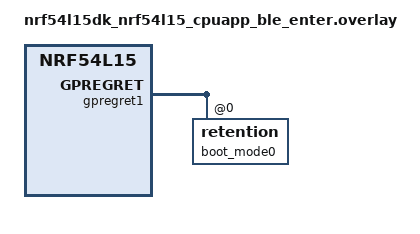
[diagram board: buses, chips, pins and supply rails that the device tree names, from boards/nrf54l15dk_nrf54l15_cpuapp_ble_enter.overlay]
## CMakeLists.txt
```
#
# Copyright (c) 2025 Nordic Semiconductor ASA
#
# SPDX-License-Identifier: LicenseRef-Nordic-5-Clause
#

cmake_minimum_required(VERSION 3.20.0)

find_package(Zephyr REQUIRED HINTS $ENV{ZEPHYR_BASE})
project(single_slot)

target_sources(app PRIVATE src/main.c)
target_sources_ifdef(CONFIG_MCUMGR_TRANSPORT_BT app PRIVATE src/ble_smp.c)
```

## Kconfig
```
#
# Copyright (c) 2026 Nordic Semiconductor ASA
#
# SPDX-License-Identifier: LicenseRef-Nordic-5-Clause
#

source "Kconfig.zephyr"

if SETTINGS

config ZMS
	default y if (SOC_FLASH_NRF_RRAM || SOC_FLASH_NRF_MRAM)

config NVS
	default y if !(SOC_FLASH_NRF_RRAM || SOC_FLASH_NRF_MRAM)

endif # SETTINGS
```

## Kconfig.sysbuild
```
#
# Copyright (c) 2025 Nordic Semiconductor ASA
#
# SPDX-License-Identifier: LicenseRef-Nordic-5-Clause
#

config MCUBOOT_SIGNATURE_USING_KMU
	default y if SOC_SERIES_NRF54L && !(SOC_NRF54LS05A || SOC_NRF54LS05B)

config MCUBOOT_GENERATE_DEFAULT_KEY_FILE
	default y if SOC_SERIES_NRF54L && !(SOC_NRF54LS05A || SOC_NRF54LS05B)

config MCUBOOT_IMAGES_ROM_END_OFFSET_AUTO
	default "single_slot;fw_loader_ipc_radio" if MCUBOOT_SIGN_MERGED_BINARY && SUPPORT_NETCORE

# The pure variant requires ED25519 and both slots in internal storage, so targets outside these
# SoC series keep the MCUboot default signature type.
config BOOT_SIGNATURE_TYPE_PURE
	default y if (SOC_SERIES_NRF54L || SOC_SERIES_NRF54H || SOC_SERIES_NRF71) && \
		BOOT_SIGNATURE_TYPE_ED25519

choice BOOT_SIGNATURE_TYPE
	default BOOT_SIGNATURE_TYPE_ECDSA_P256 if SOC_NRF54LS05A || SOC_NRF54LS05B
	default BOOT_SIGNATURE_TYPE_ED25519 if SOC_SERIES_NRF54L || SOC_SERIES_NRF54H || \
		SOC_SERIES_NRF71
endchoice

source "share/sysbuild/Kconfig"
```

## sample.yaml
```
##
# Copyright (c) 2025 Nordic Semiconductor ASA
#
# SPDX-License-Identifier: LicenseRef-Nordic-5-Clause
#

sample:
  name: Single-slot DFU with MCUboot sample
common:
  sysbuild: true
  harness: console
  harness_config:
    type: one_line
    regex:
      - "Starting single_slot sample"
tests:
  sample.dfu.single_slot:
    tags:
      - dfu_single_slot
      - ci_samples_dfu
    platform_allow:
      - nrf54l15dk/nrf54l15/cpuapp
      - nrf54h20dk/nrf54h20/cpuapp
      - nrf54lm20dk/nrf54lm20a/cpuapp
      - nrf54lv10dk/nrf54lv10a/cpuapp
      - nrf54ls05dk/nrf54ls05b/cpuapp
      - nrf54ls05dk/nrf54ls05a/cpuapp
      - nrf54lm20dk/nrf54lm20b/cpuapp
      - nrf7120dk/nrf7120/cpuapp
    integration_platforms:
      - nrf54l15dk/nrf54l15/cpuapp
      - nrf54h20dk/nrf54h20/cpuapp
      - nrf54lm20dk/nrf54lm20a/cpuapp
      - nrf54lv10dk/nrf54lv10a/cpuapp
      - nrf54ls05dk/nrf54ls05b/cpuapp
      - nrf54ls05dk/nrf54ls05a/cpuapp
      - nrf54lm20dk/nrf54lm20b/cpuapp
      - nrf7120dk/nrf7120/cpuapp
  sample.dfu.single_slot.ble_enter:
    tags:
      - dfu_single_slot
      - ci_samples_dfu
      - bluetooth
    platform_allow:
      - nrf54l15dk/nrf54l15/cpuapp
    integration_platforms:
      - nrf54l15dk/nrf54l15/cpuapp
    extra_args:
      - FILE_SUFFIX=ble_enter
    harness_config:
      type: multi_line
      regex:
        - "Bluetooth initialized"
        - "Advertising successfully started"
  sample.dfu.single_slot.usb:
    tags:
      - dfu_single_slot
      - ci_samples_dfu
    platform_allow:
      - nrf54lm20dk/nrf54lm20a/cpuapp
      - nrf54lm20dk/nrf54lm20b/cpuapp
    integration_platforms:
      - nrf54lm20dk/nrf54lm20a/cpuapp
      - nrf54lm20dk/nrf54lm20b/cpuapp
    extra_args:
      - FILE_SUFFIX=usb
  sample.dfu.single_slot.usb_enter:
    tags:
      - dfu_single_slot
      - ci_samples_dfu
    platform_allow:
      - nrf54lm20dk/nrf54lm20a/cpuapp
      - nrf54lm20dk/nrf54lm20b/cpuapp
    integration_platforms:
      - nrf54lm20dk/nrf54lm20a/cpuapp
      - nrf54lm20dk/nrf54lm20b/cpuapp
    extra_args:
      - FILE_SUFFIX=usb_enter
    harness_config:
      fixture: usb_connected
      type: one_line
      regex:
        - "Starting single_slot sample"
  sample.dfu.single_slot.usb_enter_dongle:
    tags:
      - dfu_single_slot
      - ci_samples_dfu
    platform_allow:
      - nrf54lm20dongle/nrf54lm20b/cpuapp
    integration_platforms:
      - nrf54lm20dongle/nrf54lm20b/cpuapp
    extra_args:
      - FILE_SUFFIX=usb_enter_dongle
  sample.dfu.single_slot.fw_loader_update.nrf54l15:
    extra_args:
      - SB_CONFIG_FIRMWARE_LOADER_UPDATE=y
      - installer_CONFIG_REBOOT=y
    tags:
      - dfu_single_slot
      - ci_samples_dfu
    platform_allow:
      - nrf54l15dk/nrf54l15/cpuapp
    integration_platforms:
      - nrf54l15dk/nrf54l15/cpuapp
  sample.dfu.single_slot.fw_loader_update.nrf54lv10:
    extra_args:
      - SB_CONFIG_FIRMWARE_LOADER_UPDATE=y
      - installer_CONFIG_REBOOT=y
    tags:
      - dfu_single_slot
      - ci_samples_dfu
    platform_allow:
      - nrf54lv10dk/nrf54lv10a/cpuapp
    integration_platforms:
      - nrf54lv10dk/nrf54lv10a/cpuapp
  sample.dfu.single_slot.fw_loader_update.nrf54h20:
    extra_args:
      - SB_CONFIG_FIRMWARE_LOADER_UPDATE=y
      - installer_CONFIG_REBOOT=y
    tags:
      - dfu_single_slot
      - ci_samples_dfu
    platform_allow:
      - nrf54h20dk/nrf54h20/cpuapp
    integration_platforms:
      - nrf54h20dk/nrf54h20/cpuapp
  sample.dfu.single_slot.fw_loader_update.fw_loader_entrance_pin_reset:
    build_only: true
    extra_args:
      - SB_CONFIG_FIRMWARE_LOADER_UPDATE=y
      - installer_CONFIG_REBOOT=y
      - mcuboot_CONFIG_BOOT_FIRMWARE_LOADER_PIN_RESET=y
    tags:
      - dfu_single_slot
      - ci_samples_dfu
    platform_allow:
      - nrf54l15dk/nrf54l15/cpuapp
      - nrf54h20dk/nrf54h20/cpuapp
      - nrf54lm20dk/nrf54lm20a/cpuapp
      - nrf54lm20dk/nrf54lm20b/cpuapp
      - nrf54ls05dk/nrf54ls05b/cpuapp
    integration_platforms:
      - nrf54l15dk/nrf54l15/cpuapp
      - nrf54h20dk/nrf54h20/cpuapp
      - nrf54lm20dk/nrf54lm20b/cpuapp
      - nrf54ls05dk/nrf54ls05b/cpuapp
  sample.dfu.single_slot.fw_loader_update.fw_loader_entrance_boot_mode.nrf54l15:
    extra_args:
      - SB_CONFIG_FIRMWARE_LOADER_UPDATE=y
      - installer_CONFIG_INSTALLER_FW_LOADER_ENTRANCE_BOOT_MODE=y
      - installer_CONFIG_RETAINED_MEM=y
      - installer_CONFIG_RETENTION=y
      - installer_CONFIG_RETENTION_BOOT_MODE=y
      - installer_CONFIG_REBOOT=y
      - mcuboot_CONFIG_RETAINED_MEM=y
      - mcuboot_CONFIG_RETENTION=y
      - mcuboot_CONFIG_RETENTION_BOOT_MODE=y
      - mcuboot_CONFIG_BOOT_FIRMWARE_LOADER_BOOT_MODE=y
    tags:
      - dfu_single_slot
      - ci_samples_dfu
    platform_allow:
      - nrf54l15dk/nrf54l15/cpuapp
    integration_platforms:
      - nrf54l15dk/nrf54l15/cpuapp
  sample.dfu.single_slot.fw_loader_update.fw_loader_entrance_boot_req.nrf54l15:
    extra_args:
      - SB_CONFIG_FIRMWARE_LOADER_UPDATE=y
      - FILE_SUFFIX=boot_req
      - installer_CONFIG_INSTALLER_FW_LOADER_ENTRANCE_BOOT_REQ=y
      - installer_CONFIG_RETAINED_MEM=y
      - installer_CONFIG_RETENTION=y
      - installer_CONFIG_NRF_MCUBOOT_BOOT_REQUEST=y
      - installer_CONFIG_IMG_MANAGER=y
      - installer_CONFIG_REBOOT=y
    tags:
      - dfu_single_slot
      - ci_samples_dfu

    platform_allow:
      - nrf54l15dk/nrf54l15/cpuapp
    integration_platforms:
      - nrf54l15dk/nrf54l15/cpuapp
  sample.dfu.single_slot.fw_loader_update.fw_loader_entrance_boot_req.nrf54h20:
    extra_args:
      - SB_CONFIG_FIRMWARE_LOADER_UPDATE=y
      - FILE_SUFFIX=boot_req
      - installer_CONFIG_INSTALLER_FW_LOADER_ENTRANCE_BOOT_REQ=y
      - installer_CONFIG_NRF_MCUBOOT_BOOT_REQUEST=y
      - installer_CONFIG_IMG_MANAGER=y
      - installer_CONFIG_REBOOT=y
    tags:
      - dfu_single_slot
      - ci_samples_dfu
    platform_allow:
      - nrf54h20dk/nrf54h20/cpuapp
    integration_platforms:
      - nrf54h20dk/nrf54h20/cpuapp
```

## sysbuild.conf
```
#
# Copyright (c) 2025 Nordic Semiconductor ASA
#
# SPDX-License-Identifier: LicenseRef-Nordic-5-Clause
#

SB_CONFIG_BOOTLOADER_MCUBOOT=y
SB_CONFIG_MCUBOOT_MODE_FIRMWARE_UPDATER=y
SB_CONFIG_FIRMWARE_LOADER_IMAGE_BLE_MCUMGR=y
```

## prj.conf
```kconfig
# Enable logging
CONFIG_LOG=y
```

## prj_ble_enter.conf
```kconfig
# Enable MCUmgr and dependencies.
CONFIG_NET_BUF=y
CONFIG_ZCBOR=y
CONFIG_MCUMGR=y
CONFIG_BT=y
CONFIG_BT_PERIPHERAL=y
CONFIG_BT_DEVICE_NAME="single_slot"

# Allow for large Bluetooth data packets.
CONFIG_BT_L2CAP_TX_MTU=247
CONFIG_BT_BUF_ACL_RX_SIZE=251
CONFIG_BT_BUF_ACL_TX_SIZE=251
CONFIG_BT_CTLR_DATA_LENGTH_MAX=251

# Enable the Bluetooth mcumgr transport (unauthenticated).
CONFIG_MCUMGR_TRANSPORT_BT=y
CONFIG_MCUMGR_TRANSPORT_BT_CONN_PARAM_CONTROL=y

# Enable the mcumgr Packet Reassembly feature over Bluetooth and its configuration dependencies.
# MCUmgr buffer size is optimized to fit one SMP packet divided into five Bluetooth Write Commands,
# transmitted with the maximum possible MTU value: 247 bytes.
CONFIG_MCUMGR_TRANSPORT_BT_REASSEMBLY=y
CONFIG_MCUMGR_TRANSPORT_NETBUF_SIZE=1220
CONFIG_MCUMGR_GRP_OS_MCUMGR_PARAMS=y
CONFIG_MCUMGR_TRANSPORT_WORKQUEUE_STACK_SIZE=4608

# Enable OS management with bootloader information and boot mode support. The reset command with
# the boot mode parameter is what requests entrance into the firmware loader.
CONFIG_MCUMGR_GRP_OS=y
CONFIG_MCUMGR_GRP_OS_RESET_BOOT_MODE=y
CONFIG_MCUMGR_GRP_OS_BOOTLOADER_INFO=y

# Enable the Settings management group so the SMP client can change the FW Loader
# advertising name (requires CONFIG_FW_LOADER_SETTINGS_ADV_NAME=y). The OS Reset and
# SMP Command Status hooks let the application prepare a graceful shutdown before
# resetting into the FW Loader.
CONFIG_MCUMGR_MGMT_NOTIFICATION_HOOKS=y
CONFIG_MCUMGR_GRP_OS_RESET_HOOK=y
CONFIG_MCUMGR_SMP_COMMAND_STATUS_HOOKS=y
CONFIG_MCUMGR_GRP_SETTINGS=y

CONFIG_FW_LOADER_SETTINGS_ADV_NAME=y
CONFIG_SETTINGS=y
CONFIG_SETTINGS_RUNTIME=y
CONFIG_FLASH=y
CONFIG_FLASH_MAP=y

# Enable logging
CONFIG_LOG=y
```

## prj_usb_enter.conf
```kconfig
# Enable MCUmgr and dependencies.
CONFIG_NET_BUF=y
CONFIG_ZCBOR=y
CONFIG_CRC=y
CONFIG_MCUMGR=y
CONFIG_STREAM_FLASH=y
CONFIG_FLASH_MAP=y

# Some command handlers require a large stack.
CONFIG_SYSTEM_WORKQUEUE_STACK_SIZE=2304
CONFIG_MAIN_STACK_SIZE=2176

# Ensure an MCUboot-compatible binary is generated.
CONFIG_BOOTLOADER_MCUBOOT=y

# Enable flash operations.
CONFIG_FLASH=y

# Enable most core commands.
CONFIG_MCUMGR_GRP_OS=y
CONFIG_MCUMGR_GRP_OS_BOOTLOADER_INFO=y
CONFIG_MCUMGR_GRP_OS_ECHO=y
CONFIG_MCUMGR_GRP_OS_INFO=n
CONFIG_MCUMGR_GRP_OS_RESET_BOOT_MODE=y

# Enable the Shell mcumgr transport.
CONFIG_BASE64=y
CONFIG_CRC=y

CONFIG_MCUMGR_TRANSPORT_NETBUF_SIZE=1220
CONFIG_MCUMGR_GRP_OS_MCUMGR_PARAMS=y
CONFIG_MCUMGR_TRANSPORT_WORKQUEUE_STACK_SIZE=4608

# Enable the storage erase command.
CONFIG_MCUMGR_GRP_ZBASIC=y
CONFIG_MCUMGR_GRP_ZBASIC_STORAGE_ERASE=y

# Disable shell commands that are not needed
CONFIG_CLOCK_CONTROL_NRF_SHELL=n
CONFIG_DEVICE_SHELL=n
CONFIG_DEVMEM_SHELL=n
CONFIG_FLASH_SHELL=n

# Disable unneeded drivers, peripherals and features to optimize for size
CONFIG_SIZE_OPTIMIZATIONS=y

# Enable LTO
CONFIG_LTO=y
CONFIG_ISR_TABLES_LOCAL_DECLARATION=y

CONFIG_I2C=n
CONFIG_WATCHDOG=n
CONFIG_SPI_NOR=n
CONFIG_GPIO=n

CONFIG_FPU=n

CONFIG_BOOT_BANNER=n
CONFIG_NCS_BOOT_BANNER=n
CONFIG_BOOT_DELAY=0

CONFIG_ARM_MPU=n

CONFIG_TIMESLICING=n
CONFIG_COMMON_LIBC_MALLOC=y
CONFIG_LOG=n

CONFIG_ASSERT=n

# Enable USB subsystem
CONFIG_SERIAL=y
CONFIG_UART_LINE_CTRL=y
CONFIG_CONSOLE=y
CONFIG_USB_DEVICE_STACK_NEXT=y
CONFIG_CDC_ACM_SERIAL_INITIALIZE_AT_BOOT=y
CONFIG_CDC_ACM_SERIAL_MULTIPLE_INSTANCES=y

# USB backend is serial device
CONFIG_UART_MCUMGR=y
CONFIG_MCUMGR_TRANSPORT_UART=y


CONFIG_PSA_USE_CRACEN_CIPHER_DRIVER=n
CONFIG_PSA_USE_CRACEN_AEAD_DRIVER=n
CONFIG_PSA_USE_CRACEN_MAC_DRIVER=n
CONFIG_PSA_USE_CRACEN_KEY_AGREEMENT_DRIVER=n
CONFIG_PSA_USE_CRACEN_ASYMMETRIC_ENCRYPTION_DRIVER=n
CONFIG_PSA_USE_CRACEN_KEY_MANAGEMENT_DRIVER=n
CONFIG_PSA_USE_CRACEN_KEY_DERIVATION_DRIVER=n
CONFIG_PSA_USE_CRACEN_PAKE_DRIVER=n
CONFIG_PSA_USE_CRACEN_ASYMMETRIC_SIGNATURE_DRIVER=n
CONFIG_PSA_USE_CRACEN_HASH_DRIVER=n

CONFIG_GPIO=y
```

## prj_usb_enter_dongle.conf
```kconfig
# Enable MCUmgr and dependencies.
CONFIG_NET_BUF=y
CONFIG_ZCBOR=y
CONFIG_CRC=y
CONFIG_MCUMGR=y
CONFIG_STREAM_FLASH=y
CONFIG_FLASH_MAP=y

# Some command handlers require a large stack.
CONFIG_SYSTEM_WORKQUEUE_STACK_SIZE=2304
CONFIG_MAIN_STACK_SIZE=2176

# Ensure an MCUboot-compatible binary is generated.
CONFIG_BOOTLOADER_MCUBOOT=y

# Enable flash operations.
CONFIG_FLASH=y

# Enable most core commands.
CONFIG_MCUMGR_GRP_OS=y
CONFIG_MCUMGR_GRP_OS_BOOTLOADER_INFO=y
CONFIG_MCUMGR_GRP_OS_ECHO=y
CONFIG_MCUMGR_GRP_OS_INFO=n
CONFIG_MCUMGR_GRP_OS_RESET_BOOT_MODE=y

# Enable the Shell mcumgr transport.
CONFIG_BASE64=y
CONFIG_CRC=y

CONFIG_UART_MCUMGR=y
CONFIG_MCUMGR_TRANSPORT_NETBUF_SIZE=1220
CONFIG_MCUMGR_GRP_OS_MCUMGR_PARAMS=y
CONFIG_MCUMGR_TRANSPORT_WORKQUEUE_STACK_SIZE=4608

# Enable the storage erase command.
CONFIG_MCUMGR_GRP_ZBASIC=y
CONFIG_MCUMGR_GRP_ZBASIC_STORAGE_ERASE=y

# Disable shell commands that are not needed
CONFIG_CLOCK_CONTROL_NRF_SHELL=n
CONFIG_DEVICE_SHELL=n
CONFIG_DEVMEM_SHELL=n
CONFIG_FLASH_SHELL=n

# Disable unneeded drivers, peripherals and features to optimize for size
CONFIG_SIZE_OPTIMIZATIONS=y

# Enable LTO
CONFIG_LTO=y
CONFIG_ISR_TABLES_LOCAL_DECLARATION=y

CONFIG_I2C=n
CONFIG_WATCHDOG=n
CONFIG_SPI_NOR=n
CONFIG_GPIO=n

CONFIG_FPU=n

CONFIG_BOOT_BANNER=n
CONFIG_NCS_BOOT_BANNER=n
CONFIG_BOOT_DELAY=0
CONFIG_PRINTK=n

CONFIG_ARM_MPU=n

CONFIG_TIMESLICING=n
CONFIG_COMMON_LIBC_MALLOC=y
CONFIG_LOG=n

CONFIG_UART_CONSOLE=n
CONFIG_ASSERT=n

# Enable USB subsystem
CONFIG_SERIAL=y
CONFIG_UART_LINE_CTRL=y
CONFIG_CONSOLE=y
CONFIG_USB_DEVICE_STACK_NEXT=y
CONFIG_CDC_ACM_SERIAL_INITIALIZE_AT_BOOT=y
# Two CDC ACM interfaces: board default (cdc_acm_serial.dtsi) + MCUmgr (overlay).
CONFIG_CDC_ACM_SERIAL_MULTIPLE_INSTANCES=y
# USB backend is serial device
CONFIG_MCUMGR_TRANSPORT_UART=y


CONFIG_PSA_USE_CRACEN_CIPHER_DRIVER=n
CONFIG_PSA_USE_CRACEN_AEAD_DRIVER=n
CONFIG_PSA_USE_CRACEN_MAC_DRIVER=n
CONFIG_PSA_USE_CRACEN_KEY_AGREEMENT_DRIVER=n
CONFIG_PSA_USE_CRACEN_ASYMMETRIC_ENCRYPTION_DRIVER=n
CONFIG_PSA_USE_CRACEN_KEY_MANAGEMENT_DRIVER=n
CONFIG_PSA_USE_CRACEN_KEY_DERIVATION_DRIVER=n
CONFIG_PSA_USE_CRACEN_PAKE_DRIVER=n
CONFIG_PSA_USE_CRACEN_ASYMMETRIC_SIGNATURE_DRIVER=n
CONFIG_PSA_USE_CRACEN_HASH_DRIVER=n

CONFIG_GPIO=y

CONFIG_CDC_ACM_SERIAL_VID=0x1915
CONFIG_CDC_ACM_SERIAL_PID=0x541B
```

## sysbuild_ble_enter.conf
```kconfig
#
# Copyright (c) 2026 Nordic Semiconductor ASA
#
# SPDX-License-Identifier: LicenseRef-Nordic-5-Clause
#

SB_CONFIG_BOOTLOADER_MCUBOOT=y
SB_CONFIG_MCUBOOT_MODE_FIRMWARE_UPDATER=y
SB_CONFIG_FIRMWARE_LOADER_IMAGE_BLE_MCUMGR=y

SB_CONFIG_MCUBOOT_MODE_FIRMWARE_UPDATER_BOOT_MODE_ENTRANCE=y
```

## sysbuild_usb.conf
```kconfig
#
# Copyright (c) 2026 Nordic Semiconductor ASA
#
# SPDX-License-Identifier: LicenseRef-Nordic-5-Clause
#

SB_CONFIG_BOOTLOADER_MCUBOOT=y
SB_CONFIG_MCUBOOT_MODE_FIRMWARE_UPDATER=y
SB_CONFIG_FIRMWARE_LOADER_IMAGE_USB_MCUMGR=y
```

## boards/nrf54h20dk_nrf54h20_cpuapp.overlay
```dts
/*
 * Copyright (c) 2025 Nordic Semiconductor ASA
 *
 * SPDX-License-Identifier: LicenseRef-Nordic-5-Clause
 */

#include "../sysbuild/nrf54h20.overlay"
```

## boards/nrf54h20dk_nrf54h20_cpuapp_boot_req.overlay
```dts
/*
 * Copyright (c) 2026 Nordic Semiconductor ASA
 *
 * SPDX-License-Identifier: LicenseRef-Nordic-5-Clause
 */

/* On nRF54H20 the FW loader mode is supported in the merged slot configuration
 * Extend slot0_partition and slot1_partition to cover both application and
 * radio images, as well as MCUboot image metadata (header and trailer).
 * Those partitions will be used by MCUboot to verify the merged image to boot.
 * Apart from that, they will be used by the MCUmgr subsystem to correctly
 * handle flags, stored inside the MCUboot image trailer.
 * Use cpu<app|rad>_slot<0|1>_partition as zephyr,code-partition, so the
 * application and radio sizes are correctly reported.
 */
/delete-node/ &cpuapp_slot0_partition;
/delete-node/ &cpuapp_slot1_partition;
/delete-node/ &cpurad_slot0_partition;
/delete-node/ &cpurad_slot1_partition;

/delete-node/ &cpuppr_code_partition;
/delete-node/ &cpuflpr_code_partition;

/*
 * Secondary boot is not used by this sample, as it has a somewhat
 * similar functionality as firmware loader.
 * Hence, we remove the secondary boot partitions and push the
 * storage_partition and periphconf_partition further back to the freed
 * space.
 */
/delete-node/ &secondary_partition;
/delete-node/ &secondary_periphconf_partition;
/delete-node/ &storage_partition;
/delete-node/ &periphconf_partition;

/* Remove the undefined property value from the disabled VPR cores to prevent build errors. */
&cpuflpr_vpr {
	/delete-property/ source-memory;
};

&cpuppr_vpr {
	/delete-property/ source-memory;
};

&mram1x {
	partitions {
		boot_partition: partition@30000 {
			compatible = "zephyr,mapped-partition";
			label = "mcuboot";
			reg = <0x30000 DT_SIZE_K(36)>;
		};

		/* Main application with the MCUboot header. */
		slot0_partition: partition@39000 {
			compatible = "zephyr,mapped-partition";
			reg = <0x39000 DT_SIZE_K(1612)>;
			ranges = <0x0 0x39000 DT_SIZE_K(1624)>;
			#address-cells = <1>;
			#size-cells = <1>;

			/* Main application without the MCUboot metadata.
			 * Offset by the MCUboot header size (2048 bytes).
			 */
			cpuapp_slot0_partition: partition@800 {
				compatible = "zephyr,mapped-partition";
				reg = <0x800 DT_SIZE_K(1610)>;
			};
		};

		/* Merged partition used by the FW loader. */
		slot1_partition: partition@1cc000 {
			compatible = "zephyr,mapped-partition";
			reg = <0x1cc000 DT_SIZE_K(144)>;
			ranges = <0x0 0x1cc000 DT_SIZE_K(144)>;
			#address-cells = <1>;
			#size-cells = <1>;

			/* Application code partition (part of the FW loader).
			 * Offset by the MCUboot header size (2048 bytes).
			 */
			fw_loader_partition: cpuapp_slot1_partition: partition@800 {
				compatible = "zephyr,mapped-partition";
				reg = <0x800 DT_SIZE_K(60)>;
			};

			/* Radio code partition (part of the FW loader). */
			cpurad_slot0_partition: partition@f800 {
				compatible = "zephyr,mapped-partition";
				reg = <0xf800 DT_SIZE_K(82)>;
			};
		};

		boot_request: partition@1f0000 {
			compatible = "zephyr,mapped-partition";
			reg = <0x1f0000 16>;
		};

		boot_request_backup: partition@1f0010 {
			compatible = "zephyr,mapped-partition";
			reg = <0x1f0010 16>;
		};

		storage_partition: partition@1f1000 {
			compatible = "zephyr,mapped-partition";
			reg = <0x1f1000 DT_SIZE_K(40)>;
		};

		periphconf_partition: partition@1fb000 {
			compatible = "zephyr,mapped-partition";
			reg = <0x1fb000 DT_SIZE_K(8)>;
		};
	};
};

/ {
	chosen {
		nrf,bootloader-request = &boot_request;
		nrf,bootloader-request-backup = &boot_request_backup;
		zephyr,boot-mode = &boot_request;
	};
};
```

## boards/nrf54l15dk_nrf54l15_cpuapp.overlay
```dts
/*
 * Copyright (c) 2026 Nordic Semiconductor ASA
 *
 * SPDX-License-Identifier: LicenseRef-Nordic-5-Clause
 */

/delete-node/ &boot_partition;
/delete-node/ &slot0_partition;
/delete-node/ &slot1_partition;
/delete-node/ &storage_partition;

&cpuapp_rram {
	reg = <0x0 DT_SIZE_K(1524)>;

	partitions {
		boot_partition: partition@0 {
			compatible = "zephyr,mapped-partition";
			label = "mcuboot";
			reg = <0x0 DT_SIZE_K(24)>;
		};

		slot0_partition: partition@6000 {
			compatible = "zephyr,mapped-partition";
			label = "image-0";
			reg = <0x6000 DT_SIZE_K(1360)>;
		};

		slot1_partition: partition@15a000 {
			compatible = "zephyr,mapped-partition";
			label = "image-1";
			reg = <0x15a000 DT_SIZE_K(124)>;
		};

		storage_partition: partition@179000 {
			compatible = "zephyr,mapped-partition";
			label = "storage";
			reg = <0x179000 DT_SIZE_K(16)>;
		};
	};
};

&spi00 {
	status = "disabled";
};

&mx25r64 {
	status = "disabled";
};
```

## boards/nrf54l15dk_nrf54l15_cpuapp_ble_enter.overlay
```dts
/*
 * Copyright (c) 2026 Nordic Semiconductor ASA
 *
 * SPDX-License-Identifier: LicenseRef-Nordic-5-Clause
 */

#include "./nrf54l15dk_nrf54l15_cpuapp.overlay"

/ {
	chosen {
		zephyr,boot-mode = &boot_mode0;
	};
};

&gpregret1 {
	status = "okay";

	boot_mode0: boot_mode@0 {
		compatible = "zephyr,retention";
		status = "okay";
		reg = <0x0 0x1>;
	};
};
```

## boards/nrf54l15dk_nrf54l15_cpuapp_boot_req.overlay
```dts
/*
 * Copyright (c) 2026 Nordic Semiconductor ASA
 *
 * SPDX-License-Identifier: LicenseRef-Nordic-5-Clause
 */

#include "nrf54l15dk_nrf54l15_cpuapp.overlay"

/ {
	chosen {
		nrf,bootloader-request = &boot_request;
	};
};

/ {
	cpuapp_sram@2003fff0 {
		compatible = "zephyr,memory-region", "mmio-sram";
		reg = <0x2003fff0 0x10>;
		zephyr,memory-region = "RetainedMem";
		status = "okay";

		retainedmem {
			compatible = "zephyr,retained-ram";
			status = "okay";
			#address-cells = <1>;
			#size-cells = <1>;

			boot_request: boot_request@0 {
				compatible = "zephyr,retention";
				status = "okay";
				reg = <0x0 0x10>;
				prefix = [0b 01];
				checksum = <4>;
			};
		};
	};
};

&spi00 {
	status = "disabled";
};

&mx25r64 {
	status = "disabled";
};
```

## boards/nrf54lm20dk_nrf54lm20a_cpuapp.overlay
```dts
/*
 * Copyright (c) 2026 Nordic Semiconductor ASA
 *
 * SPDX-License-Identifier: LicenseRef-Nordic-5-Clause
 */

/delete-node/ &boot_partition;
/delete-node/ &slot0_partition;
/delete-node/ &slot1_partition;
/delete-node/ &storage_partition;

&cpuapp_rram {
	reg = <0x0 DT_SIZE_K(1940)>;

	partitions {
		boot_partition: partition@0 {
			compatible = "zephyr,mapped-partition";
			label = "mcuboot";
			reg = <0x0 DT_SIZE_K(24)>;
		};

		slot0_partition: partition@6000 {
			compatible = "zephyr,mapped-partition";
			label = "image-0";
			reg = <0x6000 DT_SIZE_K(1784)>;
		};

		slot1_partition: partition@1c4000 {
			compatible = "zephyr,mapped-partition";
			label = "image-1";
			reg = <0x1c4000 DT_SIZE_K(116)>;
		};

		storage_partition: partition@1e1000 {
			compatible = "zephyr,mapped-partition";
			label = "storage";
			reg = <0x1e1000 DT_SIZE_K(16)>;
		};
	};
};
```

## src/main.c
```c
/*
 * Copyright (c) 2025 Nordic Semiconductor ASA
 *
 * SPDX-License-Identifier: LicenseRef-Nordic-5-Clause
 */

#include <zephyr/kernel.h>
#include <zephyr/devicetree.h>
#include <zephyr/drivers/gpio.h>
#include <zephyr/logging/log.h>

<<<<<<< HEAD
=======
#include "ble_smp.h"
>>>>>>> samples: dfu: Move BLE MCUmgr firmware loader

void io_led_init(void);
void io_led_set(int value);

LOG_MODULE_REGISTER(single_slot, LOG_LEVEL_DBG);

int main(void)
{
	io_led_init();

	printk("Starting single_slot sample\n");

	/* using __TIME__ ensure that a new binary will be built on every
	 * compile which is convenient when testing firmware upgrade.
	 */
	printk("build time: " __DATE__ " " __TIME__ "\n");

<<<<<<< HEAD
=======
	ble_smp_init();

>>>>>>> samples: dfu: Move BLE MCUmgr firmware loader
	while (1) {
		io_led_set(1);
		k_msleep(100);
		io_led_set(0);
		k_msleep(900);
	}
	return 0;
}

/*
 * The led0 devicetree alias is optional.
 */
#if DT_NODE_EXISTS(DT_ALIAS(led0))
#define LED0_NODE DT_ALIAS(led0)
#endif

#if DT_NODE_HAS_STATUS(LED0_NODE, okay) && DT_NODE_HAS_PROP(LED0_NODE, gpios)
static const struct gpio_dt_spec led0 = GPIO_DT_SPEC_GET(LED0_NODE, gpios);
#else
/* A build error here means your board isn't set up to drive an LED. */
#error "Unsupported board: led0 devicetree alias is not defined"
#endif

void io_led_init(void)
{
	if (!device_is_ready(led0.port)) {
		LOG_ERR("Didn't find LED device referred by the LED0_NODE\n");
		return;
	}

	gpio_pin_configure_dt(&led0, GPIO_OUTPUT);
	gpio_pin_set_dt(&led0, 0);
}

void io_led_set(int value)
{
	gpio_pin_set_dt(&led0, value);
}
```

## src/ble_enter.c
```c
/*
 * Copyright (c) 2026 Nordic Semiconductor ASA
 *
 * SPDX-License-Identifier: LicenseRef-Nordic-5-Clause
 */

#include <zephyr/kernel.h>
#include <zephyr/init.h>
#include <zephyr/bluetooth/bluetooth.h>
#include <zephyr/bluetooth/conn.h>
#include <zephyr/bluetooth/hci.h>
#include <zephyr/bluetooth/uuid.h>
#include <zephyr/mgmt/mcumgr/transport/smp_bt.h>
#include <zephyr/logging/log.h>

#if defined(CONFIG_FW_LOADER_SETTINGS_ADV_NAME)
#include <dfu/fw_loader_settings.h>
#include <zephyr/mgmt/mcumgr/mgmt/mgmt.h>
#include <zephyr/mgmt/mcumgr/mgmt/callbacks.h>
#include <zephyr/mgmt/mcumgr/grp/os_mgmt/os_mgmt.h>
#include <zephyr/retention/bootmode.h>
#include <zephyr/settings/settings.h>
#endif

LOG_MODULE_REGISTER(ble_enter, CONFIG_LOG_DEFAULT_LEVEL);

static struct k_work adv_work;

static const struct bt_data ad[] = {
	BT_DATA_BYTES(BT_DATA_FLAGS, (BT_LE_AD_GENERAL | BT_LE_AD_NO_BREDR)),
	BT_DATA_BYTES(BT_DATA_UUID128_ALL, SMP_BT_SVC_UUID_VAL),
};

static const struct bt_data sd[] = {
	BT_DATA(BT_DATA_NAME_COMPLETE, CONFIG_BT_DEVICE_NAME, (sizeof(CONFIG_BT_DEVICE_NAME) - 1)),
};

static void adv_work_handler(struct k_work *work)
{
	ARG_UNUSED(work);

	(void)bt_le_adv_start(BT_LE_ADV_CONN_FAST_2, ad, ARRAY_SIZE(ad), sd, ARRAY_SIZE(sd));
}

static void advertising_start(void)
{
	k_work_submit(&adv_work);
}

static void recycled_cb(void)
{
	advertising_start();
}

BT_CONN_CB_DEFINE(conn_callbacks) = {
	.recycled = recycled_cb,
};

#if defined(CONFIG_FW_LOADER_SETTINGS_ADV_NAME)
static bool fw_loader_reset_pending;

static void disconnect_conn_before_reset(struct bt_conn *conn, void *data)
{
	ARG_UNUSED(data);

	(void)bt_conn_disconnect(conn, BT_HCI_ERR_REMOTE_USER_TERM_CONN);
}

static void disconnect_before_reset(void)
{
	/* Attempt to terminate the BLE connection before reset so the central can faster
	 * reconnect to the device once the Firmware Loader is running, instead of
	 * having to wait for the connection to time out (supervision timeout).
	 */
	bt_conn_foreach(BT_CONN_TYPE_LE, disconnect_conn_before_reset, NULL);
}

static enum mgmt_cb_return fw_loader_reset_callback(uint32_t event, enum mgmt_cb_return prev_status,
						    int32_t *rc, uint16_t *group, bool *abort_more,
						    void *data, size_t data_size)
{
	ARG_UNUSED(prev_status);
	ARG_UNUSED(rc);
	ARG_UNUSED(group);
	ARG_UNUSED(abort_more);

	if (event == MGMT_EVT_OP_OS_MGMT_RESET) {
		struct os_mgmt_reset_data *reset_data = data;

		if (data_size != sizeof(*reset_data)) {
			return MGMT_CB_OK;
		}

		if (reset_data->boot_mode == BOOT_MODE_TYPE_BOOTLOADER) {
			int err;

			LOG_INF("FW loader reset requested (boot_mode=%u)", reset_data->boot_mode);

			err = settings_save();
			if (err != 0) {
				LOG_WRN("settings_save before fw loader reset failed: %d", err);
			} else {
				LOG_INF("settings_save completed before FW loader reset");
			}

			fw_loader_reset_pending = true;
		}

		return MGMT_CB_OK;
	}

	if (event == MGMT_EVT_OP_CMD_DONE) {
		const struct mgmt_evt_op_cmd_arg *cmd = data;

		if (data_size != sizeof(*cmd) || !fw_loader_reset_pending) {
			return MGMT_CB_OK;
		}

		if (cmd->group == MGMT_GROUP_ID_OS && cmd->id == OS_MGMT_ID_RESET &&
		    cmd->err == MGMT_ERR_EOK) {
			fw_loader_reset_pending = false;
			disconnect_before_reset();
		}

		return MGMT_CB_OK;
	}

	return MGMT_CB_OK;
}

static struct mgmt_callback reset_cb = {
	.callback = fw_loader_reset_callback,
	.event_id = MGMT_EVT_OP_OS_MGMT_RESET,
};

static struct mgmt_callback cmd_done_cb = {
	.callback = fw_loader_reset_callback,
	.event_id = MGMT_EVT_OP_CMD_DONE,
};

static int fw_loader_reset_hook_init(void)
{
	mgmt_callback_register(&reset_cb);
	mgmt_callback_register(&cmd_done_cb);

	return 0;
}

#endif /* CONFIG_FW_LOADER_SETTINGS_ADV_NAME */

static int ble_enter_init(void)
{
	int rc;
#if defined(CONFIG_FW_LOADER_SETTINGS_ADV_NAME)
	fw_loader_reset_hook_init();
#endif

	rc = bt_enable(NULL);
	if (rc != 0) {
		return rc;
	}

	k_work_init(&adv_work, adv_work_handler);
	advertising_start();

	LOG_INF("BLE MCUmgr advertising started");

	return 0;
}

SYS_INIT(ble_enter_init, APPLICATION, CONFIG_APPLICATION_INIT_PRIORITY);
```

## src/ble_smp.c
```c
/*
 * Copyright (c) 2026 Nordic Semiconductor ASA
 *
 * SPDX-License-Identifier: LicenseRef-Nordic-5-Clause
 */

#include <zephyr/kernel.h>
#include <zephyr/settings/settings.h>
#include <zephyr/bluetooth/bluetooth.h>
#include <zephyr/bluetooth/hci.h>
#include <zephyr/bluetooth/conn.h>
#include <zephyr/mgmt/mcumgr/transport/smp_bt.h>
#include <zephyr/logging/log.h>

#if defined(CONFIG_FW_LOADER_SETTINGS_ADV_NAME)
#include <dfu/fw_loader_settings.h>
#include <zephyr/mgmt/mcumgr/mgmt/mgmt.h>
#include <zephyr/mgmt/mcumgr/mgmt/callbacks.h>
#include <zephyr/mgmt/mcumgr/grp/os_mgmt/os_mgmt.h>
#include <zephyr/retention/bootmode.h>
#include <zephyr/settings/settings.h>
#endif

LOG_MODULE_REGISTER(single_slot_ble_smp, LOG_LEVEL_INF);

static struct k_work adv_work;

static const struct bt_data ad[] = {
	BT_DATA_BYTES(BT_DATA_FLAGS, (BT_LE_AD_GENERAL | BT_LE_AD_NO_BREDR)),
	BT_DATA_BYTES(BT_DATA_UUID128_ALL, SMP_BT_SVC_UUID_VAL),
};

static const struct bt_data sd[] = {
	BT_DATA(BT_DATA_NAME_COMPLETE, CONFIG_BT_DEVICE_NAME, (sizeof(CONFIG_BT_DEVICE_NAME) - 1)),
};

#if defined(CONFIG_FW_LOADER_SETTINGS_ADV_NAME)
static bool fw_loader_reset_pending;

static void disconnect_conn_before_reset(struct bt_conn *conn, void *data)
{
	ARG_UNUSED(data);

	(void)bt_conn_disconnect(conn, BT_HCI_ERR_REMOTE_USER_TERM_CONN);
}

static void disconnect_before_reset(void)
{
	/* Attempt to terminate the BLE connection before reset so the central can faster
	 * reconnect to the device once the Firmware Loader is running, instead of
	 * having to wait for the connection to time out (supervision timeout).
	 */
	bt_conn_foreach(BT_CONN_TYPE_LE, disconnect_conn_before_reset, NULL);
}

static enum mgmt_cb_return fw_loader_reset_callback(uint32_t event, enum mgmt_cb_return prev_status,
						    int32_t *rc, uint16_t *group, bool *abort_more,
						    void *data, size_t data_size)
{
	ARG_UNUSED(prev_status);
	ARG_UNUSED(rc);
	ARG_UNUSED(group);
	ARG_UNUSED(abort_more);

	if (event == MGMT_EVT_OP_OS_MGMT_RESET) {
		struct os_mgmt_reset_data *reset_data = data;

		if (data_size != sizeof(*reset_data)) {
			return MGMT_CB_OK;
		}

		if (reset_data->boot_mode == BOOT_MODE_TYPE_BOOTLOADER) {
			int err;

			LOG_INF("FW loader reset requested (boot_mode=%u)", reset_data->boot_mode);

			err = settings_save();
			if (err != 0) {
				LOG_WRN("settings_save before fw loader reset failed: %d", err);
			} else {
				LOG_INF("settings_save completed before FW loader reset");
			}

			fw_loader_reset_pending = true;
		}

		return MGMT_CB_OK;
	}

	if (event == MGMT_EVT_OP_CMD_DONE) {
		const struct mgmt_evt_op_cmd_arg *cmd = data;

		if (data_size != sizeof(*cmd) || !fw_loader_reset_pending) {
			return MGMT_CB_OK;
		}

		if (cmd->group == MGMT_GROUP_ID_OS && cmd->id == OS_MGMT_ID_RESET &&
		    cmd->err == MGMT_ERR_EOK) {
			fw_loader_reset_pending = false;
			disconnect_before_reset();
		}

		return MGMT_CB_OK;
	}

	return MGMT_CB_OK;
}

static struct mgmt_callback reset_cb = {
	.callback = fw_loader_reset_callback,
	.event_id = MGMT_EVT_OP_OS_MGMT_RESET,
};

static struct mgmt_callback cmd_done_cb = {
	.callback = fw_loader_reset_callback,
	.event_id = MGMT_EVT_OP_CMD_DONE,
};

static int fw_loader_reset_hook_init(void)
{
	mgmt_callback_register(&reset_cb);
	mgmt_callback_register(&cmd_done_cb);

	return 0;
}

#endif /* CONFIG_FW_LOADER_SETTINGS_ADV_NAME */

static void adv_work_handler(struct k_work *work)
{
	int rc = bt_le_adv_start(BT_LE_ADV_CONN_FAST_2, ad, ARRAY_SIZE(ad), sd, ARRAY_SIZE(sd));

	if (rc) {
		LOG_ERR("Advertising failed to start: %d", rc);
		return;
	}

	LOG_INF("Advertising successfully started, device name: %s", CONFIG_BT_DEVICE_NAME);
}

static void advertising_start(void)
{
	k_work_submit(&adv_work);
}

static void connected(struct bt_conn *conn, uint8_t err)
{
	if (err) {
		LOG_ERR("Connection failed: 0x%02x (%s)", err, bt_hci_err_to_str(err));
		return;
	}

	struct bt_conn_info info;
	char peer[BT_ADDR_LE_STR_LEN] = "unknown";
	int rc;

	rc = bt_conn_get_info(conn, &info);
	if (rc) {
		LOG_WRN("Failed to get connection info (rc %d)", rc);
	} else {
		bt_addr_le_to_str(info.le.remote, peer, sizeof(peer));
	}

	LOG_INF("Connected, peer %s", peer);
}

static void disconnected(struct bt_conn *conn, uint8_t reason)
{
	LOG_INF("Disconnected, reason: 0x%02x (%s)", reason, bt_hci_err_to_str(reason));
}

static void recycled_cb(void)
{
	advertising_start();
}

BT_CONN_CB_DEFINE(conn_callbacks) = {
	.connected    = connected,
	.disconnected = disconnected,
	.recycled     = recycled_cb,
};

static int ble_smp_init(void)
{
	int rc;

#if defined(CONFIG_FW_LOADER_SETTINGS_ADV_NAME)
	fw_loader_reset_hook_init();
#endif
	rc = bt_enable(NULL);
	if (rc) {
		LOG_ERR("Bluetooth init failed: %d", rc);
		return rc;
	}

	LOG_INF("Bluetooth initialized");

	if (IS_ENABLED(CONFIG_SETTINGS)) {
		settings_load();
	}

	k_work_init(&adv_work, adv_work_handler);
	advertising_start();

	return 0;
}

SYS_INIT(ble_smp_init, APPLICATION, CONFIG_APPLICATION_INIT_PRIORITY);
```

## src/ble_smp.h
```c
/*
 * Copyright (c) 2026 Nordic Semiconductor ASA
 *
 * SPDX-License-Identifier: LicenseRef-Nordic-5-Clause
 */

#ifndef SINGLE_SLOT_BLE_SMP_H_
#define SINGLE_SLOT_BLE_SMP_H_

#if defined(CONFIG_MCUMGR_TRANSPORT_BT)

/** @brief Enable Bluetooth and start advertising the SMP service.
 *
 * @return 0 on success, negative error code otherwise.
 */
int ble_smp_init(void);

#else

static inline int ble_smp_init(void)
{
	return 0;
}

#endif /* CONFIG_MCUMGR_TRANSPORT_BT */

#endif /* SINGLE_SLOT_BLE_SMP_H_ */
```
